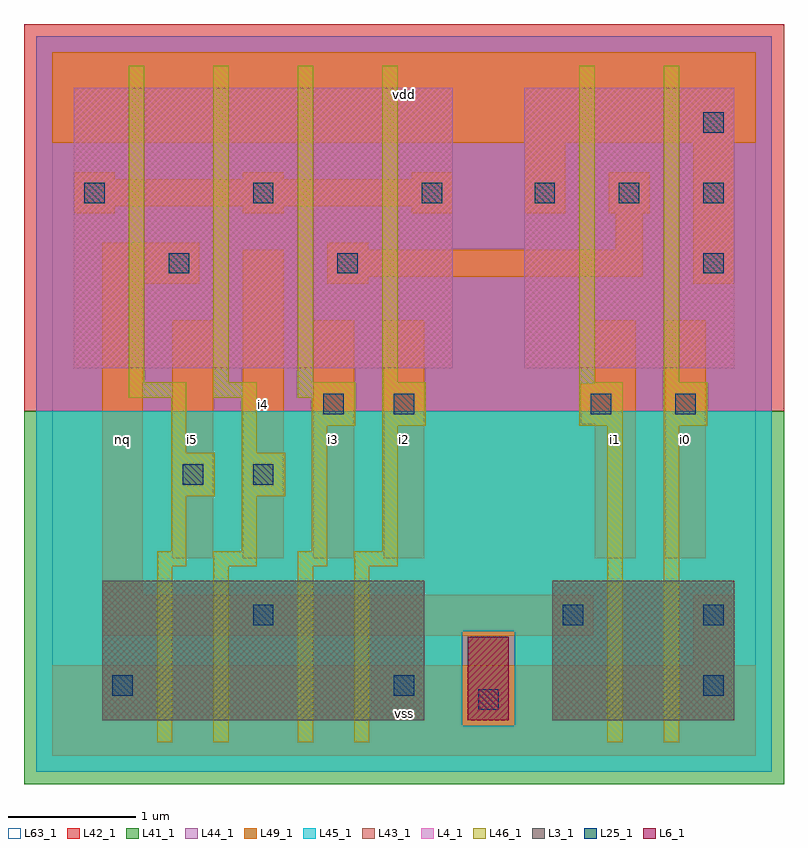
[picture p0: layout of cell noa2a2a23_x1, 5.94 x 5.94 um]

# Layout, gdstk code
import gdstk
lib = gdstk.Library(unit=1e-6, precision=1e-09)
def R(c, l, rs):  # rectangles x0, y0, x1, y1
    for r in rs: c.add(gdstk.rectangle(r[:2], r[2:], *l))
def A(c, l, x, y, w, h, nx, ny, dx, dy):  # array of equal rectangles
    R(c, l, [(x+i*dx, y+j*dy, x+i*dx+w, y+j*dy+h) for i in range(nx) for j in range(ny)])
L3_1 = (3, 1)
L4_1 = (4, 1)
L6_1 = (6, 1)
L25_1 = (25, 1)
L41_1 = (41, 1)
L42_1 = (42, 1)
L43_1 = (43, 1)
L44_1 = (44, 1)
L45_1 = (45, 1)
L46_1 = (46, 1)
L49_1 = (49, 1)
L63_1 = (63, 1)

noa2a2a23_x1 = lib.new_cell('noa2a2a23_x1')
R(noa2a2a23_x1, L3_1, [(0.39,0.28,2.91,1.37), (3.91,0.28,5.33,1.37)])
R(noa2a2a23_x1, L4_1, [(0.17,3.03,3.13,5.22), (3.69,3.03,5.33,5.22)])
R(noa2a2a23_x1, L6_1, [(3.25,0.28,3.57,0.93)])
A(noa2a2a23_x1, L25_1, 0.25, 4.32, 0.16, 0.16, 3, 1, 1.32, 0)
A(noa2a2a23_x1, L25_1, 3.77, 4.32, 0.16, 0.16, 3, 1, 0.66, 0)
R(noa2a2a23_x1, L25_1, [(3.33,0.36,3.49,0.52), (0.47,0.47,0.63,0.63), (2.67,0.47,2.83,0.63), (5.09,0.47,5.25,0.63), (1.57,1.02,1.73,1.18), (3.99,1.02,4.15,1.18), (5.09,1.02,5.25,1.18), (1.02,2.12,1.18,2.28), (1.57,2.12,1.73,2.28), (2.12,2.67,2.28,2.83), (2.67,2.67,2.83,2.83), (4.21,2.67,4.37,2.83), (4.87,2.67,5.03,2.83), (0.91,3.77,1.07,3.93), (2.23,3.77,2.39,3.93), (5.09,3.77,5.25,3.93), (5.09,4.87,5.25,5.03)])
R(noa2a2a23_x1, L41_1, [(-0.22,-0.22,5.72,2.695)])
R(noa2a2a23_x1, L42_1, [(-0.22,2.695,5.72,5.72)])
R(noa2a2a23_x1, L43_1, [(0.39,0.28,2.91,1.37), (3.25,0.28,3.57,0.93), (3.91,0.28,5.33,1.37), (0.17,3.03,3.13,5.22), (3.69,3.03,5.33,5.22)])
R(noa2a2a23_x1, L44_1, [(3.205,0.235,3.615,0.975), (-0.125,2.695,5.625,5.625)])
R(noa2a2a23_x1, L45_1, [(-0.125,-0.125,5.625,0.235), (-0.125,0.235,3.205,0.975), (3.615,0.235,5.625,0.975), (-0.125,0.975,5.625,2.695)])
A(noa2a2a23_x1, L46_1, 0.6, 2.92, 0.12, 2.475, 4, 1, 0.66, 0)
R(noa2a2a23_x1, L46_1, [(0.82,0.105,0.94,1.48), (1.26,0.105,1.38,1.48), (1.92,0.105,2.04,1.48), (2.36,0.105,2.48,1.48), (4.34,0.105,4.46,2.58), (4.78,0.105,4.9,2.58), (0.82,1.48,1.05,1.6), (1.26,1.48,1.6,1.6), (1.92,1.48,2.15,1.6), (2.36,1.48,2.7,1.6), (0.93,1.6,1.05,2.03), (1.48,1.6,1.6,2.03), (2.03,1.6,2.15,2.58), (2.58,1.6,2.7,2.58), (0.93,2.03,1.27,2.37), (1.48,2.03,1.82,2.37), (0.93,2.37,1.05,2.8), (1.48,2.37,1.6,2.8), (2.03,2.58,2.37,2.8), (2.58,2.58,2.92,2.92), (4.12,2.58,4.46,2.92), (4.78,2.58,5.12,2.92), (0.6,2.8,1.05,2.92), (1.26,2.8,1.6,2.92), (1.92,2.8,2.37,2.92), (4.12,2.92,4.24,5.395), (4.78,2.92,4.9,5.395)])
A(noa2a2a23_x1, L49_1, 0.17, 4.24, 0.32, 0.055, 3, 2, 1.32, 0.265)
R(noa2a2a23_x1, L49_1, [(0,0,5.5,0.71), (5.01,0.71,5.33,1.26), (0.39,0.94,4.23,1.26), (0.39,1.26,0.71,3.69), (0.94,1.545,1.26,3.405), (1.49,1.545,1.81,3.955), (2.04,1.545,2.36,3.405), (2.59,1.545,2.91,3.405), (4.24,1.545,4.56,2.59), (4.79,1.545,5.11,3.405), (4.13,2.59,4.56,2.91), (4.24,2.91,4.56,3.405), (0.39,3.69,1.15,4.01), (2.15,3.69,2.47,3.745), (5.01,3.69,5.33,4.79), (2.15,3.745,4.615,3.955), (2.15,3.955,2.47,4.01), (4.405,3.955,4.615,4.24), (3.69,4.24,4.01,4.79), (4.35,4.24,4.67,4.56), (0.17,4.295,3.13,4.505), (0,4.79,5.5,5.5)])
R(noa2a2a23_x1, L63_1, [(0,0,5.5,5.5)])
noa2a2a23_x1.add(gdstk.Label('nq', (0.55,2.475), layer=49, texttype=1))
noa2a2a23_x1.add(gdstk.Label('i5', (1.1,2.475), layer=49, texttype=1))
noa2a2a23_x1.add(gdstk.Label('i5', (1.1,2.475), layer=49, texttype=1))
noa2a2a23_x1.add(gdstk.Label('nq', (0.55,2.475), layer=49, texttype=1))
noa2a2a23_x1.add(gdstk.Label('i3', (2.2,2.475), layer=49, texttype=1))
noa2a2a23_x1.add(gdstk.Label('i3', (2.2,2.475), layer=49, texttype=1))
noa2a2a23_x1.add(gdstk.Label('i4', (1.65,2.75), layer=49, texttype=1))
noa2a2a23_x1.add(gdstk.Label('i4', (1.65,2.75), layer=49, texttype=1))
noa2a2a23_x1.add(gdstk.Label('vss', (2.75,0.33), layer=49, texttype=1))
noa2a2a23_x1.add(gdstk.Label('vss', (2.75,0.33), layer=49, texttype=1))
noa2a2a23_x1.add(gdstk.Label('i2', (2.75,2.475), layer=49, texttype=1))
noa2a2a23_x1.add(gdstk.Label('i2', (2.75,2.475), layer=49, texttype=1))
noa2a2a23_x1.add(gdstk.Label('vdd', (2.75,5.17), layer=49, texttype=1))
noa2a2a23_x1.add(gdstk.Label('vdd', (2.75,5.17), layer=49, texttype=1))
noa2a2a23_x1.add(gdstk.Label('i1', (4.4,2.475), layer=49, texttype=1))
noa2a2a23_x1.add(gdstk.Label('i0', (4.95,2.475), layer=49, texttype=1))
noa2a2a23_x1.add(gdstk.Label('i0', (4.95,2.475), layer=49, texttype=1))
noa2a2a23_x1.add(gdstk.Label('i1', (4.4,2.475), layer=49, texttype=1))

lib.write_gds('noa2a2a23_x1.gds')
